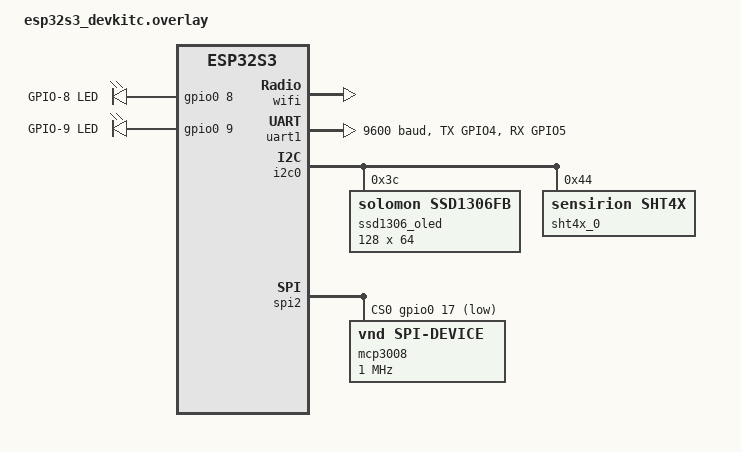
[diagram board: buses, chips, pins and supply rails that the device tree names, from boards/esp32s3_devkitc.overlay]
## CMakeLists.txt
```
cmake_minimum_required(VERSION 3.20.0)

find_package(Zephyr REQUIRED HINTS $ENV{ZEPHYR_BASE})
project(web_distance LANGUAGES C)

target_sources(app PRIVATE src/main.c)

zephyr_linker_sources(SECTIONS sections-rom.ld)
```

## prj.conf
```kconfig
CONFIG_MAIN_STACK_SIZE=4096
CONFIG_ESPTOOLPY_FLASHSIZE_8MB=y
CONFIG_SYSTEM_WORKQUEUE_STACK_SIZE=2048
CONFIG_LOG=y
CONFIG_GPIO=y
CONFIG_HEAP_MEM_POOL_SIZE=65536
CONFIG_CBPRINTF_FP_SUPPORT=y

# Libc selection (POSIX/VFS needed by HTTP server)
CONFIG_MINIMAL_LIBC=n
CONFIG_PICOLIBC=n
CONFIG_NEWLIB_LIBC=y

# POSIX + VFS
CONFIG_POSIX_API=y
CONFIG_FDTABLE=y
CONFIG_ZVFS_OPEN_MAX=32
CONFIG_ZVFS_POLL_MAX=32
CONFIG_EVENTFD=y
CONFIG_FILE_SYSTEM=y

# Networking
CONFIG_NETWORKING=y
CONFIG_NET_IPV4=y
CONFIG_NET_TCP=y
CONFIG_NET_SOCKETS=y
CONFIG_NET_DHCPV4=y
CONFIG_NET_L2_WIFI_MGMT=y
CONFIG_NET_L2_ETHERNET=y
CONFIG_NET_MGMT=y
CONFIG_NET_MGMT_EVENT=y
CONFIG_NET_PKT_RX_COUNT=16
CONFIG_NET_PKT_TX_COUNT=16
CONFIG_NET_BUF_RX_COUNT=128
CONFIG_NET_BUF_TX_COUNT=128
CONFIG_WIFI=y
CONFIG_WIFI_ESP32=y
CONFIG_ESP32_WIFI_STA_AUTO_DHCPV4=n
CONFIG_WIFI_LOG_LEVEL_OFF=y

# HTTP server
CONFIG_HTTP_SERVER=y
CONFIG_HTTP_PARSER=y
CONFIG_HTTP_PARSER_URL=y

# Sensors + buses
CONFIG_SENSOR=y
CONFIG_I2C=y
CONFIG_SPI=y

# JSON (for LED control)
CONFIG_JSON_LIBRARY=y

# OLED display (SSD1306)
CONFIG_DISPLAY=y
CONFIG_SSD1306=y
CONFIG_CHARACTER_FRAMEBUFFER=y

# UART (for US-100 distance sensor)
CONFIG_SERIAL=y
CONFIG_UART_INTERRUPT_DRIVEN=y
CONFIG_UART_USE_RUNTIME_CONFIGURE=y

# Wi-Fi credentials (see wifi_secrets.conf)
CONFIG_WIFI_CREDENTIALS=y
CONFIG_WIFI_CREDENTIALS_STATIC=y
CONFIG_WIFI_CREDENTIALS_STATIC_TYPE_PSK=y
```

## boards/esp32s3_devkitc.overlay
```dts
&wifi {
	status = "okay";
};

&pinctrl {
	uart1_us100: uart1_us100 {
		group1 {
			pinmux = <UART1_TX_GPIO4>;
			output-high;
		};
		group2 {
			pinmux = <UART1_RX_GPIO5>;
			bias-pull-up;
		};
	};
};

&uart1 {
	status = "okay";
	current-speed = <9600>;
	pinctrl-0 = <&uart1_us100>;
	pinctrl-names = "default";
};

/ {
	aliases {
		led0 = &onboard_led;
		led1 = &second_led;
	};

	chosen {
		zephyr,display = &ssd1306_oled;
	};
};

&gpio0 {
	status = "okay";
};

&i2c0 {
	status = "okay";

	ssd1306_oled: ssd1306@3c {
		compatible = "solomon,ssd1306fb";
		reg = <0x3c>;
		width = <128>;
		height = <64>;
		segment-offset = <0>;
		page-offset = <0>;
		display-offset = <0>;
		multiplex-ratio = <63>;
		segment-remap;
		com-invdir;
		prechargep = <0x22>;
	};

	sht4x_0: sht4x@44 {
		compatible = "sensirion,sht4x";
		reg = <0x44>;
		repeatability = <2>;
	};
};

&spi2 {
	status = "okay";
	cs-gpios = <&gpio0 17 GPIO_ACTIVE_LOW>;

	mcp3008: mcp3008@0 {
		compatible = "vnd,spi-device";
		reg = <0>;
		spi-max-frequency = <1000000>;
	};
};

/ {
	leds {
		compatible = "gpio-leds";

		onboard_led: led_0 {
			gpios = <&gpio0 8 GPIO_ACTIVE_HIGH>;
			label = "GPIO-8 LED";
		};

		second_led: led_1 {
			gpios = <&gpio0 9 GPIO_ACTIVE_HIGH>;
			label = "GPIO-9 LED";
		};
	};
};
```

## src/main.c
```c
#include <zephyr/kernel.h>
#include <zephyr/logging/log.h>
#include <zephyr/net/net_if.h>
#include <zephyr/net/net_ip.h>
#include <zephyr/net/net_mgmt.h>
#include <zephyr/net/dhcpv4.h>
#include <zephyr/net/http/server.h>
#include <zephyr/net/http/service.h>
#include <zephyr/net/http/status.h>
#include <zephyr/net/wifi_mgmt.h>
#include <zephyr/drivers/gpio.h>
#include <zephyr/drivers/sensor.h>
#include <zephyr/drivers/spi.h>
#include <zephyr/drivers/uart.h>
#include <zephyr/drivers/display.h>
#include <zephyr/display/cfb.h>
#include <zephyr/data/json.h>
#include <string.h>

LOG_MODULE_REGISTER(web_distance, LOG_LEVEL_INF);

#define HTTP_PORT 80
#define ADC_CHANNELS 8
#define TELEMETRY_INTERVAL_MS 250
#define WIFI_CONNECT_TIMEOUT K_SECONDS(15)
#define IPV4_READY_TIMEOUT K_SECONDS(20)
#define WIFI_CONNECT_RETRIES 3

#define US100_TRIGGER       0x55
#define US100_REPLY_BYTES   2
#define US100_RX_TIMEOUT_MS 100

/* Shared state between ISR callback and thread */
static K_SEM_DEFINE(us100_rx_sem, 0, 1);
static uint8_t  us100_rx_buf[US100_REPLY_BYTES];
static uint8_t  us100_rx_count;

static void us100_uart_isr(const struct device *dev, void *user_data)
{
	ARG_UNUSED(user_data);

	if (!uart_irq_update(dev)) {
		return;
	}

	while (uart_irq_rx_ready(dev)) {
		uint8_t c;

		if (uart_fifo_read(dev, &c, 1) != 1) {
			break;
		}

		if (us100_rx_count < US100_REPLY_BYTES) {
			us100_rx_buf[us100_rx_count++] = c;
		}

		if (us100_rx_count == US100_REPLY_BYTES) {
			k_sem_give(&us100_rx_sem);
		}
	}
}

static struct net_mgmt_event_callback wifi_cb;
static struct net_mgmt_event_callback ipv4_cb;

static K_SEM_DEFINE(wifi_connected, 0, 1);
static K_SEM_DEFINE(ipv4_ready, 0, 1);
static int wifi_connect_result;

#define LED0_NODE DT_ALIAS(led0)
#define LED1_NODE DT_ALIAS(led1)
static const struct gpio_dt_spec led0 = GPIO_DT_SPEC_GET(LED0_NODE, gpios);
static const struct gpio_dt_spec led1 = GPIO_DT_SPEC_GET(LED1_NODE, gpios);

static const struct device *const sht40 = DEVICE_DT_GET(DT_NODELABEL(sht4x_0));
static const struct spi_dt_spec mcp3008 = SPI_DT_SPEC_GET(
	DT_NODELABEL(mcp3008),
	SPI_OP_MODE_MASTER | SPI_WORD_SET(8) | SPI_TRANSFER_MSB,
	0);
static const struct device *const oled = DEVICE_DT_GET(DT_CHOSEN(zephyr_display));
static bool oled_ready;

static const uint8_t index_html[] =
"<!doctype html>\n"
"<html lang=\"en\">\n"
"<head>\n"
"  <meta charset=\"utf-8\" />\n"
"  <meta name=\"viewport\" content=\"width=device-width, initial-scale=1\" />\n"
"  <title>Zephyr Web Controller</title>\n"
"  <style>\n"
"    :root {\n"
"      --bg: #0b1020;\n"
"      --card: rgba(15,23,42,0.8);\n"
"      --accent: #38bdf8;\n"
"      --accent2: #22c55e;\n"
"      --text: #e2e8f0;\n"
"      --muted: #94a3b8;\n"
"    }\n"
"    * { box-sizing: border-box; }\n"
"    body {\n"
"      margin: 0;\n"
"      min-height: 100vh;\n"
"      font-family: \"Space Grotesk\", \"Segoe UI\", system-ui, sans-serif;\n"
"      color: var(--text);\n"
"      background:\n"
"        radial-gradient(900px 500px at 10% -10%, rgba(56,189,248,0.22), transparent 60%),\n"
"        radial-gradient(800px 400px at 110% 10%, rgba(34,197,94,0.16), transparent 55%),\n"
"        linear-gradient(135deg, #0b1020, #0f172a);\n"
"      display: grid;\n"
"      place-items: center;\n"
"      padding: 16px;\n"
"    }\n"
"    .grid {\n"
"      width: 100%;\n"
"      max-width: 460px;\n"
"      display: grid;\n"
"      grid-template-columns: 1fr;\n"
"      gap: 14px;\n"
"    }\n"
"    .card {\n"
"      background: var(--card);\n"
"      border: 1px solid rgba(148,163,184,0.2);\n"
"      border-radius: 16px;\n"
"      padding: 22px;\n"
"      box-shadow: 0 16px 40px rgba(0,0,0,0.35);\n"
"      backdrop-filter: blur(6px);\n"
"    }\n"
"    h1 { margin: 0 0 10px; font-size: 34px; line-height: 1.1; }\n"
"    h2 { margin: 0 0 14px; font-size: 20px; color: var(--muted); }\n"
"    .value { font-size: 34px; font-weight: 700; line-height: 1.15; }\n"
"    .adc {\n"
"      display: grid;\n"
"      grid-template-columns: repeat(2, 1fr);\n"
"      gap: 10px;\n"
"      font-family: ui-monospace, SFMono-Regular, Menlo, monospace;\n"
"      font-size: 16px;\n"
"      line-height: 1.5;\n"
"    }\n"
"    .toggle {\n"
"      display: flex;\n"
"      align-items: center;\n"
"      justify-content: space-between;\n"
"      gap: 14px;\n"
"      font-size: 20px;\n"
"      font-weight: 600;\n"
"    }\n"
"    button {\n"
"      background: linear-gradient(90deg, var(--accent), var(--accent2));\n"
"      color: #0b1020;\n"
"      border: 0;\n"
"      border-radius: 999px;\n"
"      min-height: 52px;\n"
"      min-width: 120px;\n"
"      padding: 12px 18px;\n"
"      font-size: 18px;\n"
"      font-weight: 700;\n"
"      cursor: pointer;\n"
"      touch-action: manipulation;\n"
"    }\n"
"    .pill { color: var(--muted); font-size: 15px; line-height: 1.4; }\n"
"  </style>\n"
"</head>\n"
"<body>\n"
"  <div class=\"grid\">\n"
"    <div class=\"card\">\n"
"      <h1>Zephyr Web Controller</h1>\n"
"      <div class=\"pill\">Live sensor + ADC values and LED control</div>\n"
"    </div>\n"
"    <div class=\"card\">\n"
"      <h2>US-100 Distance</h2>\n"
"      <div id=\"distance\" class=\"value\">---- mm</div>\n"
"    </div>\n"
"    <div class=\"card\">\n"
"      <h2>SHT40 Temperature</h2>\n"
"      <div id=\"temp\" class=\"value\">--.- C</div>\n"
"    </div>\n"
"    <div class=\"card\">\n"
"      <h2>SHT40 Humidity</h2>\n"
"      <div id=\"rh\" class=\"value\">--.- %</div>\n"
"    </div>\n"
"    <div class=\"card\">\n"
"      <h2>ADC Channels</h2>\n"
"      <div id=\"adc\" class=\"adc\"></div>\n"
"    </div>\n"
"    <div class=\"card\">\n"
"      <h2>LED Control</h2>\n"
"      <div class=\"toggle\">\n"
"        <div>LED0</div>\n"
"        <button onclick=\"setLed(0)\">Toggle</button>\n"
"      </div>\n"
"      <div class=\"toggle\" style=\"margin-top: 10px;\">\n"
"        <div>LED1</div>\n"
"        <button onclick=\"setLed(1)\">Toggle</button>\n"
"      </div>\n"
"    </div>\n"
"  </div>\n"
"  <script>\n"
"    const state = { led0: false, led1: false };\n"
"    async function fetchTelemetry() {\n"
"      const res = await fetch('/api/telemetry');\n"
"      if (!res.ok) return;\n"
"      const data = await res.json();\n"
"      document.getElementById('temp').textContent = data.temp_c.toFixed(1) + ' C';\n"
"      document.getElementById('rh').textContent = data.rh.toFixed(1) + ' %';\n"
"      document.getElementById('distance').textContent = (data.distance_mm ?? 0) + ' mm';\n"
"      const adc = data.adc || [];\n"
"      document.getElementById('adc').innerHTML = adc.map((v,i)=>`CH${i}: ${v}`).join('<br/>');\n"
"    }\n"
"    async function setLed(idx) {\n"
"      const key = idx === 0 ? 'led0' : 'led1';\n"
"      state[key] = !state[key];\n"
"      await fetch('/api/led', {\n"
"        method: 'POST',\n"
"        headers: { 'Content-Type': 'application/json' },\n"
"        body: JSON.stringify({ led: idx, state: state[key] ? 1 : 0 })\n"
"      });\n"
"    }\n"
"    setInterval(fetchTelemetry, 250);\n"
"    fetchTelemetry();\n"
"  </script>\n"
"</body>\n"
"</html>\n";

static struct http_resource_detail_static index_html_resource_detail = {
	.common = {
			.type = HTTP_RESOURCE_TYPE_STATIC,
			.bitmask_of_supported_http_methods = BIT(HTTP_GET),
			.content_type = "text/html; charset=utf-8",
		},
	.static_data = index_html,
	.static_data_len = sizeof(index_html) - 1,
};

static uint16_t web_port = HTTP_PORT;
HTTP_SERVICE_DEFINE(web_distance_service, NULL, &web_port, 1, 10, NULL);

HTTP_RESOURCE_DEFINE(index_html_resource, web_distance_service, "/",
		     &index_html_resource_detail);
HTTP_RESOURCE_DEFINE(index_html_resource_alias, web_distance_service, "/index.html",
		     &index_html_resource_detail);

struct led_command {
	int led;
	int state;
};

static const struct json_obj_descr led_command_descr[] = {
	JSON_OBJ_DESCR_PRIM(struct led_command, led, JSON_TOK_NUMBER),
	JSON_OBJ_DESCR_PRIM(struct led_command, state, JSON_TOK_NUMBER),
};

static const struct http_header json_headers[] = {
	{ .name = "Content-Type", .value = "application/json" },
};

static int read_sht40(float *temp_c, float *rh)
{
	struct sensor_value val;

	if (!device_is_ready(sht40)) {
		return -ENODEV;
	}
	if (sensor_sample_fetch(sht40) < 0) {
		return -EIO;
	}
	if (sensor_channel_get(sht40, SENSOR_CHAN_AMBIENT_TEMP, &val) < 0) {
		return -EIO;
	}
	*temp_c = sensor_value_to_double(&val);
	if (sensor_channel_get(sht40, SENSOR_CHAN_HUMIDITY, &val) < 0) {
		return -EIO;
	}
	*rh = sensor_value_to_double(&val);
	return 0;
}

static int read_us100(uint16_t *distance_mm)
{
	const struct device *uart = DEVICE_DT_GET(DT_NODELABEL(uart1));

	if (!device_is_ready(uart)) {
		return -ENODEV;
	}

	/* Reset RX state then fire trigger; ISR will collect the reply */
	us100_rx_count = 0;
	k_sem_reset(&us100_rx_sem);
	uart_poll_out(uart, US100_TRIGGER);

	/* Block (not spin) until ISR signals 2 bytes received, or timeout */
	if (k_sem_take(&us100_rx_sem, K_MSEC(US100_RX_TIMEOUT_MS)) != 0) {
		return -ETIMEDOUT;
	}

	*distance_mm = ((uint16_t)us100_rx_buf[0] << 8) | us100_rx_buf[1];
	return 0;
}

static int read_mcp3008(uint8_t channel, uint16_t *value)
{
	uint8_t tx[3] = { 0x01, (uint8_t)(0x80 | (channel << 4)), 0x00 };
	uint8_t rx[3] = { 0 };
	const struct spi_buf tx_buf = { .buf = tx, .len = sizeof(tx) };
	const struct spi_buf rx_buf = { .buf = rx, .len = sizeof(rx) };
	const struct spi_buf_set tx_set = { .buffers = &tx_buf, .count = 1 };
	const struct spi_buf_set rx_set = { .buffers = &rx_buf, .count = 1 };

	if (channel > 7) {
		return -EINVAL;
	}
	if (!spi_is_ready_dt(&mcp3008)) {
		return -ENODEV;
	}

	int ret = spi_transceive_dt(&mcp3008, &tx_set, &rx_set);
	if (ret < 0) {
		return ret;
	}

	*value = (uint16_t)(((rx[1] & 0x03) << 8) | rx[2]);
	return 0;
}

static int read_adc_all(uint16_t *values, size_t count)
{
	for (size_t i = 0; i < count; i++) {
		if (read_mcp3008((uint8_t)i, &values[i]) < 0) {
			return -EIO;
		}
	}
	return 0;
}

static void oled_update_telemetry(uint16_t distance_mm, float temp_c, float rh)
{
	if (!oled_ready) {
		return;
	}

	char line1[32];
	char line2[32];
	char line3[32];

	snprintk(line1, sizeof(line1), "Dst:%u mm", distance_mm);
	snprintk(line2, sizeof(line2), "Tmp:%4.1f C", (double)temp_c);
	snprintk(line3, sizeof(line3), "Hum:%4.1f %%", (double)rh);

	// cfb_framebuffer_clear(oled, true);
	cfb_print(oled, line1, 0, 0);
	cfb_print(oled, line2, 0, 16);
	cfb_print(oled, line3, 0, 32);
	cfb_framebuffer_finalize(oled);
}

static int telemetry_handler(struct http_client_ctx *client, enum http_data_status status,
			     uint8_t *buffer, size_t len, struct http_response_ctx *response_ctx,
			     void *user_data)
{
	ARG_UNUSED(client);
	ARG_UNUSED(buffer);
	ARG_UNUSED(len);
	ARG_UNUSED(user_data);

	static char body[256];
	float temp_c = 0.0f;
	float rh = 0.0f;
	uint16_t adc[ADC_CHANNELS] = { 0 };
	uint16_t distance_mm = 0;
	int ret;

	if (status != HTTP_SERVER_DATA_FINAL) {
		return 0;
	}

	ret = read_sht40(&temp_c, &rh);
	if (ret < 0) {
		LOG_WRN("SHT40 read failed (%d)", ret);
		temp_c = -1.0f;
		rh = -1.0f;
	}
	if (read_adc_all(adc, ADC_CHANNELS) < 0) {
		LOG_WRN("MCP3008 read failed");
		memset(adc, 0, sizeof(adc));
	}
	if (read_us100(&distance_mm) < 0) {
		LOG_WRN("US-100 read failed");
		distance_mm = 0;
	}
	oled_update_telemetry(distance_mm, temp_c, rh);

	ret = snprintk(
		body, sizeof(body),
		"{\"temp_c\":%.1f,\"rh\":%.1f,\"distance_mm\":%u,\"adc\":[%u,%u,%u,%u,%u,%u,%u,%u]}",
		(double)temp_c, (double)rh,
		distance_mm,
		adc[0], adc[1], adc[2], adc[3],
		adc[4], adc[5], adc[6], adc[7]);

	if (ret < 0) {
		return ret;
	}

	LOG_INF("Telemetry: %.1f C, %.1f %%, %u mm",
		(double)temp_c, (double)rh, distance_mm);

	response_ctx->status = HTTP_200_OK;
	response_ctx->headers = json_headers;
	response_ctx->header_count = ARRAY_SIZE(json_headers);
	response_ctx->body = (uint8_t *)body;
	response_ctx->body_len = (size_t)ret;
	response_ctx->final_chunk = true;

	return 0;
}

static struct http_resource_detail_dynamic telemetry_resource_detail = {
	.common = {
			.type = HTTP_RESOURCE_TYPE_DYNAMIC,
			.bitmask_of_supported_http_methods = BIT(HTTP_GET),
		},
	.cb = telemetry_handler,
	.user_data = NULL,
};

static int led_handler(struct http_client_ctx *client, enum http_data_status status,
		       uint8_t *buffer, size_t len, struct http_response_ctx *response_ctx,
		       void *user_data)
{
	ARG_UNUSED(client);
	ARG_UNUSED(user_data);

	static uint8_t post_buf[64];
	static size_t cursor;
	struct led_command cmd;
	int ret;

	if (status == HTTP_SERVER_DATA_ABORTED) {
		cursor = 0;
		return 0;
	}

	if (len + cursor > sizeof(post_buf)) {
		cursor = 0;
		return -ENOMEM;
	}

	memcpy(post_buf + cursor, buffer, len);
	cursor += len;

	if (status == HTTP_SERVER_DATA_FINAL) {
		ret = json_obj_parse(post_buf, cursor, led_command_descr,
				     ARRAY_SIZE(led_command_descr), &cmd);
		cursor = 0;

		if (ret < 0) {
			return -EINVAL;
		}

		if (cmd.led == 0 && gpio_is_ready_dt(&led0)) {
			(void)gpio_pin_set_dt(&led0, cmd.state ? 1 : 0);
		} else if (cmd.led == 1 && gpio_is_ready_dt(&led1)) {
			(void)gpio_pin_set_dt(&led1, cmd.state ? 1 : 0);
		}

		response_ctx->status = HTTP_200_OK;
		response_ctx->headers = json_headers;
		response_ctx->header_count = ARRAY_SIZE(json_headers);
		response_ctx->body = (uint8_t *)"{\"ok\":true}";
		response_ctx->body_len = strlen((char *)response_ctx->body);
		response_ctx->final_chunk = true;
	}

	return 0;
}

static struct http_resource_detail_dynamic led_resource_detail = {
	.common = {
			.type = HTTP_RESOURCE_TYPE_DYNAMIC,
			.bitmask_of_supported_http_methods = BIT(HTTP_POST),
		},
	.cb = led_handler,
	.user_data = NULL,
};

HTTP_RESOURCE_DEFINE(telemetry_resource, web_distance_service, "/api/telemetry",
		     &telemetry_resource_detail);
HTTP_RESOURCE_DEFINE(led_resource, web_distance_service, "/api/led",
		     &led_resource_detail);

static void wifi_event_handler(struct net_mgmt_event_callback *cb,
			       uint32_t mgmt_event, struct net_if *iface)
{
	const struct wifi_status *status = cb->info;

	ARG_UNUSED(iface);

	if (mgmt_event != NET_EVENT_WIFI_CONNECT_RESULT) {
		return;
	}

	if (status == NULL) {
		wifi_connect_result = -EIO;
		LOG_ERR("Wi-Fi connect result missing status");
		k_sem_give(&wifi_connected);
		return;
	}

	wifi_connect_result = status->status;

	if (status->status) {
		LOG_ERR("Wi-Fi connect failed (%d)", status->status);
		k_sem_give(&wifi_connected);
		return;
	}

	LOG_INF("Wi-Fi connected");
	k_sem_give(&wifi_connected);
}

static void ipv4_event_handler(struct net_mgmt_event_callback *cb,
			       uint32_t mgmt_event, struct net_if *iface)
{
	char addr_buf[NET_IPV4_ADDR_LEN];

	ARG_UNUSED(cb);

	if (mgmt_event != NET_EVENT_IPV4_ADDR_ADD) {
		return;
	}

	for (int i = 0; i < NET_IF_MAX_IPV4_ADDR; i++) {
		if (iface->config.ip.ipv4->unicast[i].ipv4.addr_type != NET_ADDR_DHCP) {
			continue;
		}

		LOG_INF("IPv4 address: %s",
			net_addr_ntop(AF_INET,
				      &iface->config.ip.ipv4->unicast[i].ipv4.address.in_addr,
				      addr_buf, sizeof(addr_buf)));
		LOG_INF("Browser: http://%s/", addr_buf);
		k_sem_give(&ipv4_ready);
		break;
	}
}

static int connect_wifi_and_wait_for_ip(void)
{
	struct net_if *iface = net_if_get_default();
	struct wifi_connect_req_params params = { 0 };
	int ret;
	bool callbacks_registered;

	if (iface == NULL) {
		LOG_ERR("No default network interface");
		return -ENODEV;
	}

	callbacks_registered = wifi_cb.handler != NULL && ipv4_cb.handler != NULL;
	if (!callbacks_registered) {
		net_mgmt_init_event_callback(&wifi_cb, wifi_event_handler,
					     NET_EVENT_WIFI_CONNECT_RESULT);
		net_mgmt_add_event_callback(&wifi_cb);

		net_mgmt_init_event_callback(&ipv4_cb, ipv4_event_handler,
					     NET_EVENT_IPV4_ADDR_ADD);
		net_mgmt_add_event_callback(&ipv4_cb);
	}

	params.ssid = CONFIG_WIFI_CREDENTIALS_STATIC_SSID;
	params.ssid_length = strlen(CONFIG_WIFI_CREDENTIALS_STATIC_SSID);
	params.psk = CONFIG_WIFI_CREDENTIALS_STATIC_PASSWORD;
	params.psk_length = strlen(CONFIG_WIFI_CREDENTIALS_STATIC_PASSWORD);
	params.security = WIFI_SECURITY_TYPE_PSK;

	for (int attempt = 1; attempt <= WIFI_CONNECT_RETRIES; attempt++) {
		k_sem_reset(&wifi_connected);
		k_sem_reset(&ipv4_ready);
		wifi_connect_result = -ETIMEDOUT;

		LOG_INF("Connecting to Wi-Fi SSID \"%s\" (attempt %d/%d)...",
			CONFIG_WIFI_CREDENTIALS_STATIC_SSID, attempt, WIFI_CONNECT_RETRIES);

		net_if_up(iface);
		ret = net_mgmt(NET_REQUEST_WIFI_CONNECT, iface, &params, sizeof(params));
		if (ret < 0) {
			LOG_ERR("Wi-Fi connect request failed (%d)", ret);
			k_sleep(K_SECONDS(1));
			continue;
		}

		ret = k_sem_take(&wifi_connected, WIFI_CONNECT_TIMEOUT);
		if (ret != 0) {
			LOG_ERR("Wi-Fi connect timed out after %d seconds",
				(int)(k_ticks_to_ms_floor32(WIFI_CONNECT_TIMEOUT.ticks) / 1000));
			(void)net_mgmt(NET_REQUEST_WIFI_DISCONNECT, iface, NULL, 0);
			k_sleep(K_SECONDS(1));
			continue;
		}

		if (wifi_connect_result != 0) {
			LOG_ERR("Wi-Fi connect failed (%d), retrying", wifi_connect_result);
			(void)net_mgmt(NET_REQUEST_WIFI_DISCONNECT, iface, NULL, 0);
			k_sleep(K_SECONDS(1));
			continue;
		}

		LOG_INF("Starting DHCPv4...");
		net_dhcpv4_start(iface);
		ret = k_sem_take(&ipv4_ready, IPV4_READY_TIMEOUT);
		if (ret != 0) {
			LOG_ERR("DHCP timed out after %d seconds",
				(int)(k_ticks_to_ms_floor32(IPV4_READY_TIMEOUT.ticks) / 1000));
			net_dhcpv4_stop(iface);
			(void)net_mgmt(NET_REQUEST_WIFI_DISCONNECT, iface, NULL, 0);
			k_sleep(K_SECONDS(1));
			continue;
		}

		return 0;
	}

	return -ETIMEDOUT;
}

static void init_us100(void)
{
	const struct device *uart = DEVICE_DT_GET(DT_NODELABEL(uart1));

	if (!device_is_ready(uart)) {
		LOG_ERR("US-100: uart1 not ready");
		return;
	}

	uart_irq_callback_user_data_set(uart, us100_uart_isr, NULL);
	uart_irq_rx_enable(uart);
	LOG_INF("US-100: ready on uart1 (GPIO4=TX, GPIO5=RX)");
}

static void init_oled(void)
{
	if (!device_is_ready(oled)) {
		LOG_WRN("OLED display not ready");
		return;
	}

	if (display_set_pixel_format(oled, PIXEL_FORMAT_MONO01) < 0) {
		LOG_WRN("OLED pixel format set failed");
	}
	if (display_blanking_off(oled) < 0) {
		LOG_WRN("OLED unblank failed");
	}
	if (cfb_framebuffer_init(oled) < 0) {
		LOG_WRN("OLED framebuffer init failed");
		return;
	}

	cfb_framebuffer_set_font(oled, 0);
	oled_ready = true;
	oled_update_telemetry(0, 0.0f, 0.0f);
	LOG_INF("OLED display ready");
}

static void init_leds(void)
{
	if (gpio_is_ready_dt(&led0)) {
		(void)gpio_pin_configure_dt(&led0, GPIO_OUTPUT_INACTIVE);
	}
	if (gpio_is_ready_dt(&led1)) {
		(void)gpio_pin_configure_dt(&led1, GPIO_OUTPUT_INACTIVE);
	}
}

int main(void)
{
	init_leds();
	init_us100();
	init_oled();

	if (!device_is_ready(sht40)) {
		LOG_WRN("SHT40 not ready");
	}
	if (!spi_is_ready_dt(&mcp3008)) {
		LOG_WRN("MCP3008 not ready");
	}

	if (connect_wifi_and_wait_for_ip() == 0) {
		LOG_INF("Starting HTTP server on port %u", web_port);
		http_server_start();
	}

	return 0;
}
```
